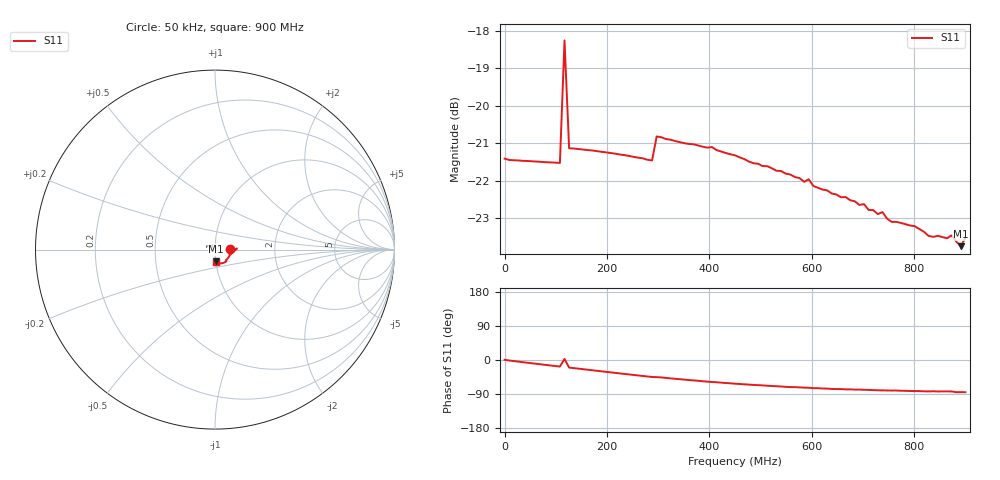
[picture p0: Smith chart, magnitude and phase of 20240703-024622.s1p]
# HZ S RI R 50
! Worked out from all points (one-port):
!   101 points, 50 kHz to 900 MHz, reference 50 ohm
!   lowest |S11| = -23.8 dB at 891 MHz (marker M1), VSWR 1.14, Z = 50.2 - j6.51 ohm
!   |S11| at or under -10 dB: start of sweep to end of sweep
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50000  0.085 0.000806
1.08044e8  0.08 -0.025
1.170435e8  0.1221 0.00614
1.26043e8  0.0824 -0.03
2.250375e8  0.0702 -0.0498
2.88034e8  0.0599 -0.0596
2.970335e8  0.064 -0.0647
3.42031e8  0.0567 -0.0692
4.050275e8  0.0465 -0.0748
4.50025e8  0.0395 -0.0762
5.670185e8  0.0253 -0.0762
5.850175e8  0.0232 -0.0756
5.94017e8  0.0231 -0.0763
6.030165e8  0.0211 -0.0752
6.750125e8  0.0163 -0.0729
6.930115e8  0.0152 -0.0721
7.02011e8  0.0146 -0.0724
7.110105e8  0.014 -0.0712
7.2001e8  0.0133 -0.0713
7.290095e8  0.0126 -0.0705
7.38009e8  0.0124 -0.071
7.56008e8  0.0114 -0.069
7.92006e8  0.00979 -0.0685
8.28004e8  0.00846 -0.0665
8.64002e8  0.00833 -0.066
8.730015e8  0.00818 -0.0666
8.910005e8  0.00591 -0.0646
9e8  0.0057 -0.0663
